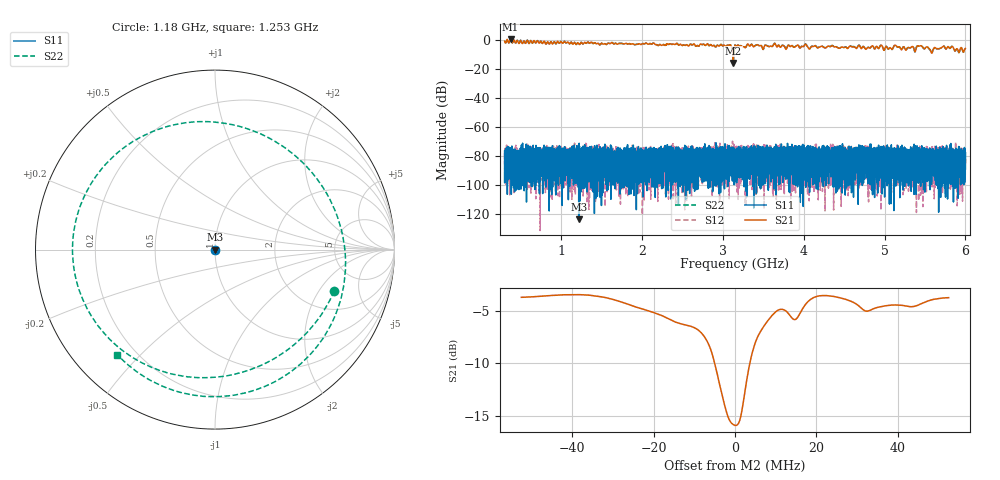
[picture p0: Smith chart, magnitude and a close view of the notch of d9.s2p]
!Agilent Technologies,N5230C,SG49000117,A.08.50.07
!Agilent N5230C: A.08.50.07
!Date: Sunday, March 17, 2024 02:43:11
!Correction: S11(Off)
!S21(Off)
!S12(Off)
!S22(Off)
!S2P File: Measurements: S11, S21, S12, S22:
# Hz S  RI  R 50
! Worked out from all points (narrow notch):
!   20001 points, 300 MHz to 6 GHz, reference 50 ohm
!   highest |S21| = 0.45 dB at 373.5 MHz (marker M1); lowest = -15.9 dB at 3.129 GHz (marker M2)
!   notch at M2: 12.0 dB deep, 8.75 MHz wide at half that depth
!   lowest |S11| = -123.8 dB at 1.217 GHz (marker M3), VSWR 1.00, Z = 50 - j6.22e-05 ohm
!   |S11| at or under -10 dB: start of sweep to end of sweep
!   |S22| runs from -15.9 to 0.5 dB; largest |S21 - S12| = 1.1
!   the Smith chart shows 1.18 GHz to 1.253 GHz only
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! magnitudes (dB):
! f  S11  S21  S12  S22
! 300 MHz  -76.7  -1.0  -78.2  -1.0
! 373.5 MHz  -80.0  0.4  -82.7  0.5
! 1.217 GHz  -123.8  -2.8  -86.0  -2.8
! 1.25 GHz  -83.9  -1.8  -80.9  -1.8
! 2.2 GHz  -83.3  -3.9  -87.4  -4.0
! 3.074 GHz  -77.4  -3.8  -79.5  -3.7
! 3.129 GHz  -79.7  -15.9  -87.1  -15.9
! 3.15 GHz  -82.8  -3.6  -81.7  -3.6
! 3.174 GHz  -79.2  -4.5  -78.5  -4.5
! 3.329 GHz  -84.1  -4.3  -75.8  -4.2
! 3.486 GHz  -90.6  -5.1  -83.7  -5.1
! 3.635 GHz  -85.9  -2.6  -82.0  -2.5
! 4.1 GHz  -78.1  -4.5  -79.9  -4.4
! 5.05 GHz  -85.9  -6.4  -82.2  -6.3
! 5.139 GHz  -83.3  -3.9  -76.6  -3.9
! 5.373 GHz  -83.4  -8.1  -87.0  -8.1
! 5.432 GHz  -80.7  -4.4  -77.4  -4.4
! 5.577 GHz  -76.6  -8.7  -97.2  -8.8
! 5.721 GHz  -84.1  -4.8  -79.8  -4.8
! 5.83 GHz  -81.4  -4.6  -79.2  -4.6
! 5.898 GHz  -87.4  -6.2  -114.4  -6.2
! 6 GHz  -89.0  -6.0  -81.2  -6.0
